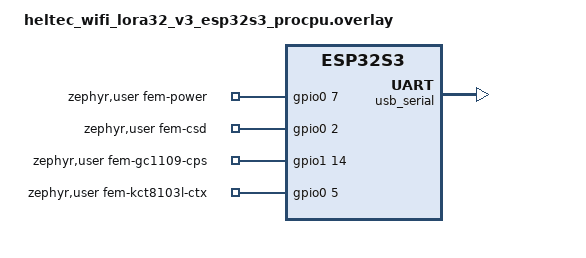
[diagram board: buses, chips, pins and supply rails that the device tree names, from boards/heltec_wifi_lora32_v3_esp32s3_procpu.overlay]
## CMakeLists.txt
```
# SPDX-License-Identifier: GPL-3.0-only

cmake_minimum_required(VERSION 3.20.0)

find_package(Zephyr REQUIRED HINTS $ENV{ZEPHYR_BASE})
project(lora_bench)

set(COMMON_DIR ${CMAKE_CURRENT_SOURCE_DIR}/../common)

target_include_directories(app PRIVATE ${COMMON_DIR}/lora)

target_sources(app PRIVATE
	src/main.c
	src/heltec_v4_fem.c
	src/oled.c
	src/font_5x8.c
	src/shell_cmds.c
	src/secure.c
	src/trace.c
)

# Either end of the real link, picked at run time by "bench role", plus
# the replay hook for testing.
set(LSEC_LINK sat ctrl)
set(LSEC_RADIO ON)
include(${COMMON_DIR}/link/link_sec.cmake)
target_compile_definitions(app PRIVATE LINK_TEST_HOOKS)
```

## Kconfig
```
# SPDX-License-Identifier: GPL-3.0-only

mainmenu "LoRa bench test"

rsource "../common/link/Kconfig"

source "Kconfig.zephyr"
```

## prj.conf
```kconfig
CONFIG_LOG=y
CONFIG_SHELL=y
CONFIG_GPIO=y
CONFIG_INPUT=y
CONFIG_HWINFO=y

CONFIG_SPI=y
CONFIG_LORA=y
# The driver logs every receive timeout at INF, which the listen loop
# would turn into four lines a second.
CONFIG_LORA_LOG_LEVEL_WRN=y

# Status on the OLED, in the app's own 5x8 font
CONFIG_I2C=y
CONFIG_DISPLAY=y
CONFIG_CHARACTER_FRAMEBUFFER=y
CONFIG_CHARACTER_FRAMEBUFFER_USE_DEFAULT_FONTS=n

# Secure-link mode (src/secure.c): the role and the pairing live in flash
CONFIG_FLASH=y
CONFIG_FLASH_MAP=y
CONFIG_ZMS=y
CONFIG_SETTINGS=y
CONFIG_SETTINGS_ZMS=y
CONFIG_REBOOT=y

# Link security, see documentation/radio_link.md
CONFIG_MAIN_STACK_SIZE=8192
CONFIG_PSA_CRYPTO=y
CONFIG_MBEDTLS_ENABLE_HEAP=y
CONFIG_MBEDTLS_HEAP_SIZE=8192
CONFIG_PSA_WANT_KEY_TYPE_AES=y
CONFIG_PSA_WANT_ALG_CCM=y
CONFIG_PSA_WANT_ALG_SHA_256=y
CONFIG_PSA_WANT_ALG_HMAC=y
CONFIG_PSA_WANT_ALG_HKDF=y
CONFIG_PSA_WANT_ALG_ECDH=y
CONFIG_PSA_WANT_ECC_SECP_R1_256=y
CONFIG_PSA_WANT_KEY_TYPE_ECC_KEY_PAIR_GENERATE=y
CONFIG_PSA_WANT_KEY_TYPE_ECC_PUBLIC_KEY=y
CONFIG_ENTROPY_GENERATOR=y

# Reply slots are timed to the millisecond; the ESP32 default of 100 ticks
# per second would round every wait to 10 ms.
CONFIG_SYS_CLOCK_TICKS_PER_SEC=10000

# The native SX126x driver, kept in standby between operations. It waits
# on BUSY without sleeping, so a reply goes out within a millisecond of
# its slot starting. loramac-node sleeps the chip after every call, which
# put some 40 ms of jitter-prone setup around each transmission.
CONFIG_LORA_MODULE_BACKEND_NATIVE=y
CONFIG_LORA_SX126X_NATIVE_SLEEP=n
```

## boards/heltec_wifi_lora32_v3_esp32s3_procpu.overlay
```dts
/*
 * Heltec WiFi LoRa 32 V4 on top of Zephyr's V3 board.
 *
 * Zephyr has no V4 board. The V4 keeps the V3's ESP32-S3, SX1262 wiring
 * (SPI, BUSY, DIO1, reset, DIO2 RF switch, 1.8 V TCXO on DIO3), LED and
 * PRG button, and changes two things that matter here:
 *
 *  - USB-C goes to the ESP32-S3's own USB Serial/JTAG instead of a
 *    CP2102, so the console moves off uart0.
 *  - A PA/LNA front-end sits between the SX1262 and the antenna. Its
 *    control pins are listed below and driven by src/heltec_v4_fem.c.
 *
 * The V4 has 16 MB of flash; the V3's 8 MB layout is used as it is.
 */

/ {
	chosen {
		zephyr,console = &usb_serial;
		zephyr,shell-uart = &usb_serial;
	};

	zephyr,user {
		fem-power-gpios = <&gpio0 7 GPIO_ACTIVE_HIGH>;			/* VFEM_Ctrl */
		fem-csd-gpios = <&gpio0 2 GPIO_ACTIVE_HIGH>;			/* PA_CSD */
		fem-gc1109-cps-gpios = <&gpio1 14 GPIO_ACTIVE_HIGH>;		/* IO46, V4.2 */
		fem-kct8103l-ctx-gpios = <&gpio0 5 GPIO_ACTIVE_HIGH>;		/* IO5, V4.3 */
	};
};

&usb_serial {
	status = "okay";
};
```

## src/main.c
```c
/* SPDX-License-Identifier: GPL-3.0-only */

/*
 * LoRa bench test for two Heltec WiFi LoRa 32 V4 boards.
 *
 * Both boards run this same image. By default a board just listens and
 * answers every PING with a PONG. Pressing the PRG button, or "bench ping"
 * on the shell, makes it send a run of PINGs and log, for each one, the
 * round-trip time and the RSSI/SNR in both directions.
 *
 * With a role set ("bench role ctrl|sat") the board runs secure.c instead:
 * pairing, sessions and sealed pings on the link security layer.
 */

#include <errno.h>
#include <zephyr/drivers/gpio.h>
#include <zephyr/drivers/hwinfo.h>
#include <zephyr/input/input.h>
#include <zephyr/kernel.h>
#include <zephyr/logging/log.h>
#include <zephyr/settings/settings.h>
#include <zephyr/sys/atomic.h>

#include "bench.h"
#include "heltec_v4_fem.h"
#include "oled.h"
#include "radio.h"
#include "secure.h"

LOG_MODULE_REGISTER(bench, LOG_LEVEL_INF);

/* Pings sent for one press of the PRG button. */
#define BUTTON_PING_COUNT    10
#define BUTTON_PING_INTERVAL 2000

/* How often a listening board checks whether a ping run was requested. */
#define LISTEN_WINDOW K_MSEC(250)

/* How often the display is redrawn when nothing happens, for the ages. */
#define DISPLAY_REFRESH_MS 1000

/* Time allowed for the other board to turn around and start its PONG. */
#define PONG_TURNAROUND_MS 100

static const struct gpio_dt_spec led = GPIO_DT_SPEC_GET(DT_ALIAS(led0), gpios);

static uint16_t node_id;
static enum bench_role role;

/* What the display shows. Only main() and the functions it calls touch it. */
static struct bench_status status;
static bool status_changed;

/* A ping run requested by the shell or the button, run by main(). */
static struct {
	uint32_t count;
	uint32_t interval_ms;
} ping_run;
static atomic_t ping_busy;
static atomic_t ping_stop;
static K_SEM_DEFINE(ping_requested, 0, 1);

uint16_t bench_node_id(void)
{
	return node_id;
}

int bench_ping_start(uint32_t count, uint32_t interval_ms)
{
	if (!atomic_cas(&ping_busy, 0, 1)) {
		return -EBUSY;
	}

	ping_run.count = count;
	ping_run.interval_ms = interval_ms;
	atomic_clear(&ping_stop);
	k_sem_give(&ping_requested);
	return 0;
}

void bench_ping_stop(void)
{
	atomic_set(&ping_stop, 1);
}

static void on_button(struct input_event *evt, void *user_data)
{
	if (evt->type != INPUT_EV_KEY || evt->code != INPUT_KEY_0) {
		return;
	}

	if (role != ROLE_OFF) {
		secure_button(evt->value);
		return;
	}

	if (evt->value) {
		if (bench_ping_start(BUTTON_PING_COUNT, BUTTON_PING_INTERVAL) == -EBUSY) {
			bench_ping_stop();
		}
	}
}
INPUT_CALLBACK_DEFINE(NULL, on_button, NULL);

/* Record a received packet for the display; true if it is a bench packet. */
static bool note_rx(const struct bench_pkt *pkt, int len,
		    const struct radio_rx_info *rx)
{
	bool valid = len == sizeof(*pkt) && pkt->magic == BENCH_MAGIC;

	status.rx_time = k_uptime_get();
	status.rx_type = valid ? pkt->type : 0;
	status.rx_seq = pkt->seq;
	status.rx_src = pkt->src;
	status.rx_rssi_dbm = rx->rssi_dbm;
	status.rx_snr_db = rx->snr_db;
	status_changed = true;

	return valid;
}

static int send_pkt(const struct bench_pkt *pkt)
{
	int ret;

	gpio_pin_set_dt(&led, 1);
	ret = radio_send(pkt, sizeof(*pkt));
	gpio_pin_set_dt(&led, 0);

	if (ret) {
		LOG_ERR("send: %d", ret);
	}
	return ret;
}

/* Listen for one window and answer a PING if one arrives. */
static void answer_pings(void)
{
	struct bench_pkt ping;
	struct radio_rx_info rx;
	int len;

	len = radio_recv(&ping, sizeof(ping), LISTEN_WINDOW, &rx);
	if (len == -EAGAIN) {
		return;
	}
	if (len < 0) {
		LOG_WRN("recv: %d", len);
		return;
	}
	if (!note_rx(&ping, len, &rx) || ping.type != BENCH_PING) {
		LOG_INF("ignored %d-byte packet, %d dBm", len, rx.rssi_dbm);
		return;
	}

	struct bench_pkt pong = {
		.magic = BENCH_MAGIC,
		.type = BENCH_PONG,
		.src = node_id,
		.dst = ping.src,
		.seq = ping.seq,
		.rssi_dbm = rx.rssi_dbm,
		.snr_db = rx.snr_db,
	};

	LOG_INF("ping %u from %04x: %d dBm, SNR %d dB", ping.seq, ping.src,
		rx.rssi_dbm, rx.snr_db);
	send_pkt(&pong);
}

/* Wait until @p deadline for the PONG to PING @p seq, skipping anything else. */
static bool await_pong(uint32_t seq, int64_t deadline, struct bench_pkt *pong,
		       struct radio_rx_info *rx)
{
	int64_t left;

	while ((left = deadline - k_uptime_get()) > 0) {
		int len = radio_recv(pong, sizeof(*pong), K_MSEC(left), rx);

		if (len >= 0 && note_rx(pong, len, rx) && pong->type == BENCH_PONG &&
		    pong->dst == node_id && pong->seq == seq) {
			return true;
		}
	}

	return false;
}

static void run_pings(uint32_t count, uint32_t interval_ms)
{
	uint32_t airtime = radio_airtime_ms(sizeof(struct bench_pkt));
	uint32_t pongs = 0;
	int64_t rtt_sum = 0;
	int16_t worst_rssi = INT16_MAX;

	LOG_INF("pinging %u times every %u ms, %u ms airtime per packet",
		count, interval_ms, airtime);

	status.pinging = true;
	status.ping_total = count;
	status.ping_sent = 0;
	status.pongs = 0;

	for (uint32_t seq = 1; seq <= count && !atomic_get(&ping_stop); seq++) {
		struct bench_pkt ping = {
			.magic = BENCH_MAGIC,
			.type = BENCH_PING,
			.src = node_id,
			.seq = seq,
		};
		struct bench_pkt pong;
		struct radio_rx_info rx;
		int64_t start = k_uptime_get();

		status.ping_sent = seq;

		if (send_pkt(&ping) == 0 &&
		    await_pong(seq, k_uptime_get() + airtime + PONG_TURNAROUND_MS,
			       &pong, &rx)) {
			int64_t rtt = k_uptime_get() - start;

			LOG_INF("ping %u: pong from %04x in %lld ms, "
				"there %d dBm/%d dB, back %d dBm/%d dB",
				seq, pong.src, rtt, pong.rssi_dbm, pong.snr_db,
				rx.rssi_dbm, rx.snr_db);

			pongs++;
			rtt_sum += rtt;
			worst_rssi = MIN(worst_rssi, MIN(pong.rssi_dbm, rx.rssi_dbm));

			status.pongs = pongs;
			status.there_rssi_dbm = pong.rssi_dbm;
			status.there_snr_db = pong.snr_db;
			status.back_rssi_dbm = rx.rssi_dbm;
			status.back_snr_db = rx.snr_db;
			status.rtt_ms = rtt;
		} else {
			LOG_WRN("ping %u: no pong", seq);
		}

		oled_show(&status);

		k_sleep(K_TIMEOUT_ABS_MS(start + interval_ms));
	}

	status.pinging = false;
	status_changed = true;

	if (pongs > 0) {
		LOG_INF("%u of %u answered, mean RTT %lld ms, worst RSSI %d dBm",
			pongs, count, rtt_sum / pongs, worst_rssi);
	} else {
		LOG_INF("0 of %u answered", count);
	}
}

static int read_node_id(void)
{
	uint8_t id[8];
	ssize_t len = hwinfo_get_device_id(id, sizeof(id));

	if (len < 2) {
		return len < 0 ? len : -EIO;
	}

	node_id = (id[len - 2] << 8) | id[len - 1];
	return 0;
}

/* Redraw on changes, and every DISPLAY_REFRESH_MS for the ages. */
static void refresh_display(void)
{
	static int64_t last;
	int64_t now = k_uptime_get();

	if (status_changed || now - last >= DISPLAY_REFRESH_MS) {
		oled_show(&status);
		status_changed = false;
		last = now;
	}
}

/* Log a bring-up failure and leave it on the display. */
static int fail(const char *what, int err)
{
	LOG_ERR("%s: %d", what, err);
	status.error = what;
	status.error_code = err;
	oled_show(&status);
	return err;
}

int main(void)
{
	const struct radio_frontend *fe;
	int ret;

	/* Optional: the bench works without it, only less visibly. */
	(void)oled_init();

	ret = read_node_id();
	if (ret) {
		return fail("device id", ret);
	}
	status.node_id = node_id;

	ret = gpio_pin_configure_dt(&led, GPIO_OUTPUT_INACTIVE);
	if (ret) {
		return fail("LED", ret);
	}

	fe = heltec_v4_fem_init();
	if (fe == NULL) {
		return fail("RF front-end", -EIO);
	}
	status.frontend = fe->name;

	ret = radio_init(fe);
	if (ret) {
		return fail("radio init", ret);
	}

	ret = settings_subsys_init();
	if (ret) {
		return fail("settings", ret);
	}

	role = secure_role_load();
	if (role != ROLE_OFF) {
		secure_main(role);
	}

	LOG_INF("node %04x listening; press PRG or run \"bench ping\"", node_id);

	while (true) {
		if (k_sem_take(&ping_requested, K_NO_WAIT) == 0) {
			run_pings(ping_run.count, ping_run.interval_ms);
			atomic_clear(&ping_busy);
		}
		answer_pings();
		refresh_display();
	}

	return 0;
}
```

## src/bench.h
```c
/* SPDX-License-Identifier: GPL-3.0-only */

#ifndef BENCH_H_
#define BENCH_H_

#include <stdint.h>

/*
 * Test packet. Every board answers a PING with a PONG that reports how
 * well it heard the PING, so the pinging board sees both directions of
 * the link. Fields are little-endian, as are both MCUs in the project.
 */
#define BENCH_MAGIC 0xB5

enum bench_pkt_type {
	BENCH_PING = 1,
	BENCH_PONG = 2,
	BENCH_POLL = 3,   /* secure mode: the payload of a link poll */
};

struct bench_pkt {
	uint8_t magic;
	uint8_t type;
	uint16_t src;      /* sender's node id */
	/* PONG: the pinging node. PING: 0, anyone answers. POLL: pad the PONG to this length. */
	uint16_t dst;
	uint32_t seq;
	int16_t rssi_dbm;  /* PONG: how the PING was heard */
	int8_t snr_db;
} __packed;

/* Node id: the low 16 bits of the chip's factory MAC/serial. */
uint16_t bench_node_id(void);

/*
 * Ask the radio loop to send @p count pings, one per @p interval_ms.
 * Returns -EBUSY if a ping run is already queued or in progress.
 */
int bench_ping_start(uint32_t count, uint32_t interval_ms);
void bench_ping_stop(void);

#endif /* BENCH_H_ */
```

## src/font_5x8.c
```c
/* SPDX-License-Identifier: GPL-3.0-only */

/* Generated by tools/bdf_to_cfb.py from 5x8.bdf. Do not edit. */

#include <zephyr/display/cfb.h>

static const uint8_t font5x8_glyphs[95][5] = {
	{ 0x00, 0x00, 0x00, 0x00, 0x00 }, /* space */
	{ 0x00, 0x00, 0x5e, 0x00, 0x00 }, /* ! */
	{ 0x00, 0x0e, 0x00, 0x0e, 0x00 }, /* " */
	{ 0x14, 0x7f, 0x14, 0x7f, 0x14 }, /* # */
	{ 0x04, 0x2a, 0x7f, 0x2a, 0x10 }, /* $ */
	{ 0x00, 0x16, 0x08, 0x34, 0x00 }, /* % */
	{ 0x36, 0x49, 0x36, 0x40, 0x00 }, /* & */
	{ 0x00, 0x00, 0x0e, 0x00, 0x00 }, /* ' */
	{ 0x00, 0x3c, 0x42, 0x00, 0x00 }, /* ( */
	{ 0x00, 0x42, 0x3c, 0x00, 0x00 }, /* ) */
	{ 0x54, 0x38, 0x38, 0x54, 0x00 }, /* * */
	{ 0x10, 0x10, 0x7c, 0x10, 0x10 }, /* + */
	{ 0x00, 0x80, 0x60, 0x20, 0x00 }, /* , */
	{ 0x10, 0x10, 0x10, 0x10, 0x00 }, /* - */
	{ 0x00, 0x40, 0xe0, 0x40, 0x00 }, /* . */
	{ 0x60, 0x10, 0x08, 0x06, 0x00 }, /* / */
	{ 0x00, 0x3c, 0x42, 0x3c, 0x00 }, /* 0 */
	{ 0x00, 0x44, 0x7e, 0x40, 0x00 }, /* 1 */
	{ 0x64, 0x52, 0x52, 0x4c, 0x00 }, /* 2 */
	{ 0x22, 0x4a, 0x4e, 0x32, 0x00 }, /* 3 */
	{ 0x18, 0x14, 0x7e, 0x10, 0x00 }, /* 4 */
	{ 0x2e, 0x4a, 0x4a, 0x32, 0x00 }, /* 5 */
	{ 0x3c, 0x4a, 0x4a, 0x30, 0x00 }, /* 6 */
	{ 0x02, 0x62, 0x1a, 0x06, 0x00 }, /* 7 */
	{ 0x34, 0x4a, 0x4a, 0x34, 0x00 }, /* 8 */
	{ 0x0c, 0x52, 0x52, 0x3c, 0x00 }, /* 9 */
	{ 0x00, 0x6c, 0x6c, 0x00, 0x00 }, /* : */
	{ 0x00, 0x80, 0x6c, 0x2c, 0x00 }, /* ; */
	{ 0x00, 0x18, 0x24, 0x42, 0x00 }, /* < */
	{ 0x28, 0x28, 0x28, 0x28, 0x00 }, /* = */
	{ 0x00, 0x42, 0x24, 0x18, 0x00 }, /* > */
	{ 0x00, 0x04, 0x52, 0x0c, 0x00 }, /* ? */
	{ 0x3c, 0x42, 0x99, 0xa5, 0x1e }, /* @ */
	{ 0x7c, 0x12, 0x12, 0x7c, 0x00 }, /* A */
	{ 0x7e, 0x4a, 0x4a, 0x34, 0x00 }, /* B */
	{ 0x3c, 0x42, 0x42, 0x24, 0x00 }, /* C */
	{ 0x7e, 0x42, 0x42, 0x3c, 0x00 }, /* D */
	{ 0x7e, 0x4a, 0x4a, 0x42, 0x00 }, /* E */
	{ 0x7e, 0x0a, 0x0a, 0x02, 0x00 }, /* F */
	{ 0x3c, 0x42, 0x52, 0x34, 0x00 }, /* G */
	{ 0x7e, 0x08, 0x08, 0x7e, 0x00 }, /* H */
	{ 0x00, 0x42, 0x7e, 0x42, 0x00 }, /* I */
	{ 0x20, 0x42, 0x3e, 0x02, 0x00 }, /* J */
	{ 0x7e, 0x08, 0x34, 0x42, 0x00 }, /* K */
	{ 0x7e, 0x40, 0x40, 0x40, 0x00 }, /* L */
	{ 0x7e, 0x0c, 0x0c, 0x7e, 0x00 }, /* M */
	{ 0x7e, 0x0c, 0x38, 0x7e, 0x00 }, /* N */
	{ 0x3c, 0x42, 0x42, 0x3c, 0x00 }, /* O */
	{ 0x7e, 0x12, 0x12, 0x0c, 0x00 }, /* P */
	{ 0x3c, 0x52, 0x62, 0xbc, 0x00 }, /* Q */
	{ 0x7e, 0x12, 0x12, 0x6c, 0x00 }, /* R */
	{ 0x24, 0x4a, 0x52, 0x24, 0x00 }, /* S */
	{ 0x00, 0x02, 0x7e, 0x02, 0x00 }, /* T */
	{ 0x3e, 0x40, 0x40, 0x3e, 0x00 }, /* U */
	{ 0x1e, 0x60, 0x60, 0x1e, 0x00 }, /* V */
	{ 0x7e, 0x30, 0x30, 0x7e, 0x00 }, /* W */
	{ 0x66, 0x18, 0x18, 0x66, 0x00 }, /* X */
	{ 0x06, 0x08, 0x70, 0x08, 0x06 }, /* Y */
	{ 0x62, 0x52, 0x4a, 0x46, 0x00 }, /* Z */
	{ 0x00, 0x7e, 0x42, 0x42, 0x00 }, /* [ */
	{ 0x06, 0x08, 0x10, 0x60, 0x00 }, /* backslash */
	{ 0x00, 0x42, 0x42, 0x7e, 0x00 }, /* ] */
	{ 0x00, 0x04, 0x02, 0x04, 0x00 }, /* ^ */
	{ 0x80, 0x80, 0x80, 0x80, 0x00 }, /* _ */
	{ 0x00, 0x02, 0x04, 0x00, 0x00 }, /* ` */
	{ 0x30, 0x48, 0x48, 0x78, 0x00 }, /* a */
	{ 0x7e, 0x48, 0x48, 0x30, 0x00 }, /* b */
	{ 0x00, 0x30, 0x48, 0x48, 0x00 }, /* c */
	{ 0x30, 0x48, 0x48, 0x7e, 0x00 }, /* d */
	{ 0x30, 0x68, 0x58, 0x10, 0x00 }, /* e */
	{ 0x10, 0x7c, 0x12, 0x04, 0x00 }, /* f */
	{ 0x10, 0xa8, 0xa8, 0x70, 0x00 }, /* g */
	{ 0x7e, 0x08, 0x08, 0x70, 0x00 }, /* h */
	{ 0x00, 0x48, 0x7a, 0x40, 0x00 }, /* i */
	{ 0x00, 0x40, 0x80, 0x7a, 0x00 }, /* j */
	{ 0x7e, 0x10, 0x10, 0x68, 0x00 }, /* k */
	{ 0x00, 0x42, 0x7e, 0x40, 0x00 }, /* l */
	{ 0x78, 0x08, 0x70, 0x08, 0x70 }, /* m */
	{ 0x78, 0x08, 0x08, 0x70, 0x00 }, /* n */
	{ 0x30, 0x48, 0x48, 0x30, 0x00 }, /* o */
	{ 0xf8, 0x28, 0x28, 0x10, 0x00 }, /* p */
	{ 0x10, 0x28, 0x28, 0xf8, 0x00 }, /* q */
	{ 0x78, 0x10, 0x08, 0x10, 0x00 }, /* r */
	{ 0x00, 0x50, 0x58, 0x28, 0x00 }, /* s */
	{ 0x08, 0x3e, 0x48, 0x20, 0x00 }, /* t */
	{ 0x38, 0x40, 0x40, 0x78, 0x00 }, /* u */
	{ 0x00, 0x38, 0x40, 0x38, 0x00 }, /* v */
	{ 0x38, 0x40, 0x30, 0x40, 0x38 }, /* w */
	{ 0x48, 0x30, 0x30, 0x48, 0x00 }, /* x */
	{ 0x58, 0xa0, 0xa0, 0x78, 0x00 }, /* y */
	{ 0x48, 0x68, 0x58, 0x48, 0x00 }, /* z */
	{ 0x08, 0x2a, 0x55, 0x41, 0x00 }, /* { */
	{ 0x00, 0x00, 0x7e, 0x00, 0x00 }, /* | */
	{ 0x41, 0x55, 0x2a, 0x08, 0x00 }, /* } */
	{ 0x04, 0x02, 0x04, 0x02, 0x00 }, /* ~ */
};

FONT_ENTRY_DEFINE(font5x8, 5, 8, CFB_FONT_MONO_VPACKED,
		  font5x8_glyphs, 0x20, 0x7e);
```

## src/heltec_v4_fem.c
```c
/* SPDX-License-Identifier: GPL-3.0-only */

/*
 * RF front-end of the Heltec WiFi LoRa 32 V4.
 *
 * The V4 puts a PA/LNA between the SX1262 and the antenna, and the part
 * changed between board revisions:
 *
 *   V4.2  GC1109    CTX = SX1262 DIO2, CPS = GPIO46 (high: PA, low: bypass)
 *   V4.3  KCT8103L  CPS = SX1262 DIO2, CTX = GPIO5  (high: TX, low: RX LNA)
 *
 * On both, GPIO7 enables the front-end's LDO and GPIO2 drives its CSD
 * (chip enable). DIO2 is switched by the SX1262 itself; the one pin left
 * to software must be high while transmitting and low otherwise. Only
 * which pin that is differs between revisions.
 *
 * The revisions are told apart by what they put on CSD: V4.3 pulls it up,
 * V4.2 pulls it down. This is the detection Meshtastic uses.
 *
 * Pin assignments are from Heltec's schematics WiFi_LoRa_32_V4.2.pdf and
 * HTIT-WB32LAF_V4.3.pdf.
 */

#include <zephyr/drivers/gpio.h>
#include <zephyr/kernel.h>
#include <zephyr/logging/log.h>

#include "heltec_v4_fem.h"

LOG_MODULE_REGISTER(fem, LOG_LEVEL_INF);

#define USER_NODE DT_PATH(zephyr_user)

static const struct gpio_dt_spec power = GPIO_DT_SPEC_GET(USER_NODE, fem_power_gpios);
static const struct gpio_dt_spec csd = GPIO_DT_SPEC_GET(USER_NODE, fem_csd_gpios);
static const struct gpio_dt_spec gc1109_cps = GPIO_DT_SPEC_GET(USER_NODE, fem_gc1109_cps_gpios);
static const struct gpio_dt_spec kct8103l_ctx =
	GPIO_DT_SPEC_GET(USER_NODE, fem_kct8103l_ctx_gpios);

/* The pin that selects the transmit path on the fitted revision. */
static const struct gpio_dt_spec *tx_pin;

static int set_tx(bool tx)
{
	return gpio_pin_set_dt(tx_pin, tx);
}

/*
 * Small-signal gain from SX1262 output to antenna, attenuator pad
 * included, as measured by Meshtastic. Both PAs compress above about
 * 15 dBm of input, so these hold only for moderate output powers.
 */
static const struct radio_frontend gc1109 = {
	.name = "GC1109 (V4.2)",
	.tx_gain_db = 11,
	.set_tx = set_tx,
};

static const struct radio_frontend kct8103l = {
	.name = "KCT8103L (V4.3)",
	.tx_gain_db = 13,
	.set_tx = set_tx,
};

const struct radio_frontend *heltec_v4_fem_init(void)
{
	const struct radio_frontend *fe;
	int ret;

	ret = gpio_pin_configure_dt(&power, GPIO_OUTPUT_ACTIVE);
	if (ret) {
		LOG_ERR("front-end power: %d", ret);
		return NULL;
	}
	k_msleep(1);

	/* Read the revision strap before driving CSD. */
	ret = gpio_pin_configure_dt(&csd, GPIO_INPUT);
	if (ret) {
		return NULL;
	}
	k_msleep(1);

	if (gpio_pin_get_dt(&csd) == 1) {
		fe = &kct8103l;
		tx_pin = &kct8103l_ctx;
	} else {
		fe = &gc1109;
		tx_pin = &gc1109_cps;
	}

	ret = gpio_pin_configure_dt(tx_pin, GPIO_OUTPUT_INACTIVE);
	if (ret == 0) {
		ret = gpio_pin_configure_dt(&csd, GPIO_OUTPUT_ACTIVE);
	}
	if (ret) {
		LOG_ERR("front-end control pins: %d", ret);
		return NULL;
	}

	LOG_INF("RF front-end %s", fe->name);
	return fe;
}
```

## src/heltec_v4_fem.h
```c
/* SPDX-License-Identifier: GPL-3.0-only */

#ifndef HELTEC_V4_FEM_H_
#define HELTEC_V4_FEM_H_

#include "radio.h"

/*
 * Power up the Heltec V4's RF front-end, find out which of the two
 * revisions is fitted, and return the matching radio_frontend. Returns
 * NULL if the front-end GPIOs could not be configured.
 */
const struct radio_frontend *heltec_v4_fem_init(void);

#endif /* HELTEC_V4_FEM_H_ */
```

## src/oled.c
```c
/* SPDX-License-Identifier: GPL-3.0-only */

/*
 * Bench status on the Heltec's 128x64 OLED, as 8 lines of 25 characters
 * in the 5x8 font from font_5x8.c:
 *
 *   079c  KCT8103L (V4.3)
 *   869.850 SF7 +7dBm
 *   RX ping #12 from 3a41
 *     -45dBm 9dB  3s ago
 *   PING 7/10  ok 6
 *     there -41dBm  9dB
 *     back  -43dBm 10dB
 *     rtt 342ms
 */

#include <errno.h>
#include <stdarg.h>
#include <zephyr/device.h>
#include <zephyr/display/cfb.h>
#include <zephyr/drivers/display.h>
#include <zephyr/kernel.h>
#include <zephyr/logging/log.h>
#include <zephyr/sys/printk.h>

#include "bench.h"
#include "oled.h"
#include "radio.h"
#include "secure.h"

LOG_MODULE_REGISTER(oled, LOG_LEVEL_INF);

#define LINE_HEIGHT 8
#define LINE_CHARS  25

static const struct device *const display = DEVICE_DT_GET(DT_CHOSEN(zephyr_display));
static bool ready;

int oled_init(void)
{
	int ret;

	if (!device_is_ready(display)) {
		LOG_WRN("no display");
		return -ENODEV;
	}

	ret = cfb_framebuffer_init(display);
	if (ret == 0) {
		/* The 5x8 font is the only one built in. */
		ret = cfb_framebuffer_set_font(display, 0);
	}
	if (ret == 0) {
		ret = display_blanking_off(display);
	}
	if (ret) {
		LOG_ERR("display init: %d", ret);
		return ret;
	}

	ready = true;
	return 0;
}

static void line(int row, const char *fmt, ...)
{
	char text[LINE_CHARS + 1];
	va_list ap;

	va_start(ap, fmt);
	vsnprintk(text, sizeof(text), fmt, ap);
	va_end(ap);

	cfb_print(display, text, 0, row * LINE_HEIGHT);
}

static const char *pkt_name(uint8_t type)
{
	switch (type) {
	case BENCH_PING:
		return "ping";
	case BENCH_PONG:
		return "pong";
	default:
		return "?";
	}
}

static void show_rx(const struct bench_status *st)
{
	if (st->rx_time == 0) {
		line(2, "RX nothing yet");
		return;
	}

	if (st->rx_type == 0) {
		line(2, "RX unknown packet");
	} else {
		line(2, "RX %s #%u from %04x", pkt_name(st->rx_type), st->rx_seq,
		     st->rx_src);
	}

	line(3, "  %ddBm %ddB  %ds ago", st->rx_rssi_dbm, st->rx_snr_db,
	     (int)((k_uptime_get() - st->rx_time) / 1000));
}

static void show_pings(const struct bench_status *st)
{
	if (st->ping_total == 0) {
		line(4, "PRG button: ping run");
		return;
	}

	line(4, "%s %u/%u  ok %u", st->pinging ? "PING" : "DONE", st->ping_sent,
	     st->ping_total, st->pongs);

	if (st->pongs > 0) {
		line(5, "  there %ddBm %ddB", st->there_rssi_dbm, st->there_snr_db);
		line(6, "  back  %ddBm %ddB", st->back_rssi_dbm, st->back_snr_db);
		line(7, "  rtt %ums", st->rtt_ms);
	}
}

void oled_show(const struct bench_status *st)
{
	uint32_t f = radio_frequency();

	if (!ready) {
		return;
	}

	cfb_framebuffer_clear(display, false);

	line(0, "%04x  %s", st->node_id, st->frontend ? st->frontend : "");

	if (st->error) {
		line(2, "ERROR");
		line(3, "%s", st->error);
		line(4, "code %d", st->error_code);
	} else {
		line(1, "%u.%03u SF%u %+ddBm", f / 1000000, (f / 1000) % 1000,
		     radio_spreading_factor(), radio_tx_power());
		show_rx(st);
		show_pings(st);
	}

	cfb_framebuffer_finalize(display);
}

/*
 * Secure mode, normally:
 *
 *   079c CTRL SF7 +7dBm
 *   link: joined
 *   sat 00c0ffee12345678
 *   > joined
 *   ok 12 tag 0 replay 1
 *   net 0 nosess 0
 *   PING 7/10 ok 6 grp 3
 *     rtt 342ms
 *
 * and while a pairing waits for the user, the pattern to compare: four
 * numbered rows of six boxes, filled where the satellite's LED is lit.
 */
#define SAS_TOP   12
#define SAS_PITCH 13
#define BOX_W     12
#define BOX_H     10
#define BOX_PITCH 18
#define BOX_LEFT  14

static void show_sas(const struct secure_status *st)
{
	line(0, "COMPARE PRG=ok hold=no");

	for (int r = 0; r < LSEC_SAS_FRAMES; r++) {
		int y = SAS_TOP + r * SAS_PITCH;
		char label[2] = {'1' + r, '\0'};

		cfb_draw_text(display, label, 0, y + 1);

		for (int led = 0; led < LSEC_SAS_LEDS; led++) {
			int x = BOX_LEFT + led * BOX_PITCH;
			struct cfb_position a = {x, y};
			struct cfb_position b = {x + BOX_W - 1, y + BOX_H - 1};

			cfb_draw_rect(display, &a, &b);
			if (st->sas[r] & BIT(led)) {
				cfb_invert_area(display, x + 1, y + 1, BOX_W - 2, BOX_H - 2);
			}
		}
	}
}

static const char *link_state(const struct secure_status *st)
{
	if (st->scanning) {
		return "looking for sats";
	}
	if (st->pairing) {
		return st->role == ROLE_SAT ? "pairing mode" : "pairing";
	}
	if (!st->paired) {
		return "not paired";
	}
	return st->joined ? "joined" : "paired, joining";
}

void oled_show_secure(uint16_t node_id, const struct secure_status *st)
{
	if (!ready) {
		return;
	}

	cfb_framebuffer_clear(display, false);

	if (st->sas_shown) {
		show_sas(st);
		cfb_framebuffer_finalize(display);
		return;
	}

	line(0, "%04x %s SF%u %+ddBm", node_id, st->role == ROLE_CTRL ? "CTRL" : "SAT",
	     radio_spreading_factor(), radio_tx_power());
	line(1, "link: %s", link_state(st));
	if (st->uid != 0) {
		line(2, "%s %016llx", st->role == ROLE_CTRL ? "sat" : "me", st->uid);
	}
	if (st->note) {
		line(3, "> %s", st->note);
	}
	line(4, "ok %u tag %u replay %u", st->stats.rx_ok, st->stats.bad_tag,
	     st->stats.replay);
	line(5, "net %u nosess %u", st->stats.foreign, st->stats.no_session);

	if (st->ping_total > 0) {
		line(6, "%s %u/%u ok %u grp %u", st->pinging ? "PING" : "DONE", st->ping_sent,
		     st->ping_total, st->pongs, st->group_pongs);
		if (st->pongs > 0) {
			line(7, "  rtt %ums", st->rtt_ms);
		}
	}

	cfb_framebuffer_finalize(display);
}
```

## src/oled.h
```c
/* SPDX-License-Identifier: GPL-3.0-only */

#ifndef OLED_H_
#define OLED_H_

#include <stdbool.h>
#include <stdint.h>

/* What the bench shows on the board's 128x64 OLED. Owned by main(). */
struct bench_status {
	uint16_t node_id;
	const char *frontend;   /* NULL until the front-end is detected */

	/* Last packet heard, of any kind. rx_time is 0 until the first. */
	int64_t rx_time;
	uint8_t rx_type;        /* enum bench_pkt_type, 0 if unrecognized */
	uint32_t rx_seq;
	uint16_t rx_src;
	int16_t rx_rssi_dbm;
	int8_t rx_snr_db;

	/* Current or most recent ping run. ping_total is 0 before the first. */
	bool pinging;
	uint32_t ping_sent;
	uint32_t ping_total;
	uint32_t pongs;

	/* Most recent answered ping. */
	int16_t there_rssi_dbm;
	int8_t there_snr_db;
	int16_t back_rssi_dbm;
	int8_t back_snr_db;
	uint32_t rtt_ms;

	/* Set when bring-up fails; replaces the radio lines. */
	const char *error;
	int error_code;
};

struct secure_status;

/* Returns -ENODEV if there is no display; the bench runs without one. */
int oled_init(void);
void oled_show(const struct bench_status *st);
void oled_show_secure(uint16_t node_id, const struct secure_status *st);

#endif /* OLED_H_ */
```

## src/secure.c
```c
/* SPDX-License-Identifier: GPL-3.0-only */

/*
 * Secure-link mode. One board takes the controller role, the other the
 * satellite role. Each runs the same link code as the real device
 * (../common/link/ctrl_link.c or sat_link.c); this file only adds the
 * bench's OLED, PRG button and a ping test on top:
 *
 *   - Satellite: hold PRG (or "bench pair") to enter pairing mode.
 *   - Controller: hold PRG to pair with the first satellite it hears in
 *     pairing mode, or "bench scan" and "bench pair <uid>".
 *   - Both OLEDs then show the same 4x6 pattern. Press PRG on each to
 *     confirm, hold it to reject.
 *   - Once joined, the controller polls the satellite twice a second, as
 *     the real controller does, which keeps the session up. PRG on the
 *     controller (or "bench ping") runs sealed pings, alternating unicast
 *     and group frames; "bench poll" measures where the satellite's
 *     replies land in their slots.
 *
 * Link events arrive on the link thread. The shell and the button queue
 * requests for secure_main()'s thread, which also drives the display.
 */

#include <errno.h>
#include <string.h>
#include <zephyr/drivers/gpio.h>
#include <zephyr/kernel.h>
#include <zephyr/logging/log.h>
#include <zephyr/settings/settings.h>

#include "bench.h"
#include "ctrl_link.h"
#include "link_sched.h"
#include "lsec_store.h"
#include "oled.h"
#include "radio.h"
#include "sat_link.h"
#include "secure.h"
#include "trace.h"

LOG_MODULE_REGISTER(secure, LOG_LEVEL_INF);

/*
 * The bench has one satellite. It is paired into the last slot, so that
 * "bench poll" can put phantom satellites ahead of it and test any rank.
 */
#define BENCH_PAIR_SLOT LSEC_MAX_SATS

#define LOOP_PERIOD        K_MSEC(50)
#define DISPLAY_REFRESH_MS 1000
#define LONG_PRESS_MS      1000
/* Controller: poll the satellite this often when nothing else is running. */
#define HEARTBEAT_MS       500
#define JAM_LEN            255

static enum bench_role role;
/* Written by both threads; st_lock keeps each update whole. */
static struct secure_status st;
static K_MUTEX_DEFINE(st_lock);
static atomic_t st_changed;

static struct {
	uint32_t count;
	uint32_t interval_ms;
	atomic_t seq;
	int64_t next_at;
	int64_t sent_at;
} ping;

/* A "bench poll" run, and where its replies landed. */
static struct {
	uint32_t count;
	uint32_t interval_ms;
	uint8_t mask;
	uint8_t reply_len;
	uint8_t rank;
	uint8_t slot_ms;
	atomic_t seq;
	int64_t next_at;
	uint32_t answered;
	uint32_t late;           /* ended after their slot */
	int64_t min_us, max_us, sum_us;
} poll;

static int64_t next_heartbeat;

/* The paired satellite's slot, found by looking; 0 when there is none. */
static atomic_t sat_slot;

struct secure_req {
	enum secure_req_type type;
	uint64_t uid;
	uint32_t arg;
	uint32_t arg2;
};

K_MSGQ_DEFINE(requests, sizeof(struct secure_req), 8, 4);

/* Controller: pair with the first satellite heard (long press). */
static atomic_t auto_pair;

/* ---- role in settings ------------------------------------------------- */

static int role_set(const char *key, size_t len, settings_read_cb read_cb, void *cb_arg,
		    void *param)
{
	uint8_t v;

	if (settings_name_steq(key, "role", NULL) && len == 1 &&
	    read_cb(cb_arg, &v, 1) == 1 && v <= ROLE_SAT) {
		*(enum bench_role *)param = v;
	}

	return 0;
}

enum bench_role secure_role_load(void)
{
	enum bench_role r = ROLE_OFF;

	settings_load_subtree_direct("bench", role_set, &r);
	return r;
}

int secure_role_save(enum bench_role r)
{
	uint8_t v = r;
	int ret;

	/* Pairings belong to the role that made them. */
	ret = lsec_store_clear();
	if (ret) {
		return ret;
	}

	return settings_save_one("bench/role", &v, 1);
}

/* ---- requests --------------------------------------------------------- */

int secure_request(enum secure_req_type type, uint64_t uid, uint32_t arg, uint32_t arg2)
{
	struct secure_req req = {.type = type, .uid = uid, .arg = arg, .arg2 = arg2};

	if (role == ROLE_OFF) {
		return -ENOTSUP;
	}

	return k_msgq_put(&requests, &req, K_NO_WAIT) ? -EBUSY : 0;
}

const struct secure_status *secure_status(void)
{
	return &st;
}

void secure_button(bool pressed)
{
	static int64_t down_at;
	bool long_press;

	if (pressed) {
		down_at = k_uptime_get();
		return;
	}

	long_press = k_uptime_get() - down_at >= LONG_PRESS_MS;

	if (st.sas_shown) {
		secure_request(long_press ? REQ_REJECT : REQ_CONFIRM, 0, 0, 0);
	} else if (long_press) {
		secure_request(REQ_PAIR, 0, 0, 0);
	} else if (role == ROLE_CTRL) {
		secure_request(st.pinging ? REQ_STOP : REQ_PING, 0, 10, 2000);
	}
}

static void note(const char *text)
{
	k_mutex_lock(&st_lock, K_FOREVER);
	st.note = text;
	k_mutex_unlock(&st_lock);
	atomic_set(&st_changed, 1);
}

/* ---- link events (link thread) ---------------------------------------- */

static const char *fail_name(enum lsec_fail reason)
{
	switch (reason) {
	case LSEC_FAIL_TIMEOUT:
		return "timeout";
	case LSEC_FAIL_REJECTED:
		return "rejected here";
	case LSEC_FAIL_PEER_ABORT:
		return "peer aborted";
	case LSEC_FAIL_COMMITMENT:
		return "bad commitment";
	case LSEC_FAIL_CHECK:
		return "key check failed";
	case LSEC_FAIL_STORE:
		return "store failed";
	default:
		return "crypto error";
	}
}

static void log_sas(const uint8_t sas[LSEC_SAS_FRAMES])
{
	char rows[LSEC_SAS_FRAMES][LSEC_SAS_LEDS + 1];

	for (int r = 0; r < LSEC_SAS_FRAMES; r++) {
		for (int led = 0; led < LSEC_SAS_LEDS; led++) {
			rows[r][led] = (sas[r] & BIT(led)) ? '#' : '.';
		}
		rows[r][LSEC_SAS_LEDS] = '\0';
	}

	LOG_INF("compare: %s %s %s %s  (PRG = match, hold PRG = no match)", rows[0], rows[1],
		rows[2], rows[3]);
}

static void on_data(const struct lsec_event *ev)
{
	struct bench_pkt pkt;

	/* A pong may be padded to test longer replies. */
	if (ev->len < sizeof(pkt)) {
		LOG_INF("%zu-byte payload from slot %u", ev->len, ev->slot);
		return;
	}

	memcpy(&pkt, ev->data, sizeof(pkt));
	if (pkt.magic != BENCH_MAGIC) {
		return;
	}

	if (role == ROLE_SAT && pkt.type == BENCH_PING) {
		struct sat_link_state ls;

		sat_link_state(&ls);

		struct bench_pkt pong = {
			.magic = BENCH_MAGIC,
			.type = BENCH_PONG,
			.src = bench_node_id(),
			.dst = pkt.src,
			.seq = pkt.seq,
			.rssi_dbm = ls.rssi_dbm,
			.snr_db = ls.snr_db,
		};

		LOG_INF("sealed ping %u (%s): %d dBm", pkt.seq, ev->group ? "group" : "unicast",
			ls.rssi_dbm);
		sat_link_send(&pong, sizeof(pong));
		return;
	}

	if (role == ROLE_CTRL && pkt.type == BENCH_PONG && st.pinging && poll.count &&
	    pkt.seq == atomic_get(&poll.seq)) {
		struct ctrl_link_state ls;
		int64_t off;
		int64_t slot_end;

		/* The reception time of this very frame, against the poll's end. */
		ctrl_link_state(&ls);
		off = ls.last_rx_us - ls.last_poll_end_us;
		slot_end = link_slot_start_us(0, poll.rank + 1, poll.slot_ms);

		poll.answered++;
		poll.min_us = MIN(poll.min_us, off);
		poll.max_us = MAX(poll.max_us, off);
		poll.sum_us += off;
		if (off > slot_end) {
			poll.late++;
		}

		k_mutex_lock(&st_lock, K_FOREVER);
		st.pongs++;
		st.rtt_ms = off / 1000;
		k_mutex_unlock(&st_lock);

		LOG_INF("poll %u: reply at +%lld.%01lld ms, slot %lld-%lld ms, there %d dBm",
			pkt.seq, off / 1000, (off % 1000) / 100,
			link_slot_start_us(0, poll.rank, poll.slot_ms) / 1000, slot_end / 1000,
			pkt.rssi_dbm);
		return;
	}

	/* Seq 0 answers a heartbeat poll. */
	if (role == ROLE_CTRL && pkt.type == BENCH_PONG && pkt.seq != 0 &&
	    pkt.seq == atomic_get(&ping.seq)) {
		struct ctrl_link_state ls;
		uint32_t rtt = k_uptime_get() - ping.sent_at;
		bool group = pkt.seq % 2 == 0;

		ctrl_link_state(&ls);

		k_mutex_lock(&st_lock, K_FOREVER);
		st.rtt_ms = rtt;
		st.pongs++;
		st.group_pongs += group;
		k_mutex_unlock(&st_lock);

		LOG_INF("sealed ping %u (%s): pong in %u ms, there %d dBm, back %d dBm", pkt.seq,
			group ? "group" : "unicast", rtt, pkt.rssi_dbm, ls.rssi_dbm);
	}
}

/* Satellite: answer a poll with a pong, padded to what the poll asks for. */
static void on_poll(const struct lsec_event *ev)
{
	struct sat_link_state ls;
	struct bench_pkt pkt = {0};
	uint8_t reply[LSEC_MAX_PAYLOAD] = {0};
	size_t len = sizeof(pkt);
	int ret;

	if (ev->len == sizeof(pkt)) {
		memcpy(&pkt, ev->data, sizeof(pkt));
	}
	if (pkt.magic == BENCH_MAGIC && pkt.type == BENCH_POLL) {
		len = CLAMP(pkt.dst, sizeof(pkt), sizeof(reply));
	}

	sat_link_state(&ls);

	struct bench_pkt pong = {
		.magic = BENCH_MAGIC,
		.type = BENCH_PONG,
		.src = bench_node_id(),
		.seq = pkt.seq,
		.rssi_dbm = ls.rssi_dbm,
		.snr_db = ls.snr_db,
	};

	memcpy(reply, &pong, sizeof(pong));
	ret = sat_link_reply(reply, len);

	/* Seq 0 is the controller's heartbeat, twice a second. */
	if (pkt.seq != 0) {
		LOG_INF("poll %u: slot %u of %u, %u ms each, %d dBm%s", pkt.seq, ev->rank,
			ev->count, ev->slot_ms, ls.rssi_dbm, ret ? ", reply too long" : "");
	}
}

static void on_event(const struct lsec_event *ev)
{
	switch (ev->type) {
	case LSEC_EV_ADV: {
		atomic_val_t ap = atomic_get(&auto_pair);

		LOG_INF("satellite %016llx in pairing mode, %d dBm", ev->uid, ev->rssi_dbm);
		if (ap && atomic_cas(&auto_pair, ap, 0)) {
			secure_request(REQ_PAIR, ev->uid, ap >> 8, 0);
		}
		break;
	}
	case LSEC_EV_SAS:
		k_mutex_lock(&st_lock, K_FOREVER);
		memcpy(st.sas, ev->sas, sizeof(st.sas));
		st.sas_shown = true;
		st.note = "compare pattern";
		k_mutex_unlock(&st_lock);
		log_sas(ev->sas);
		break;
	case LSEC_EV_PAIRED:
		k_mutex_lock(&st_lock, K_FOREVER);
		st.sas_shown = false;
		st.note = "paired";
		k_mutex_unlock(&st_lock);
		LOG_INF("paired: satellite %016llx in slot %u", ev->uid, ev->slot);
		break;
	case LSEC_EV_PAIR_FAILED:
		k_mutex_lock(&st_lock, K_FOREVER);
		st.sas_shown = false;
		st.note = fail_name(ev->reason);
		k_mutex_unlock(&st_lock);
		LOG_WRN("pairing failed: %s", fail_name(ev->reason));
		break;
	case LSEC_EV_JOINED:
		note("joined");
		LOG_INF("session up, slot %u", ev->slot);
		break;
	case LSEC_EV_DATA:
		on_data(ev);
		break;
	case LSEC_EV_POLL:
		on_poll(ev);
		break;
	case LSEC_EV_LEFT:
		note("session dropped");
		LOG_WRN("session dropped: %s for %u ms",
			role == ROLE_CTRL ? "no reply" : "not polled",
			role == ROLE_CTRL ? LSEC_PEER_TIMEOUT_MS : LSEC_SESSION_TIMEOUT_MS);
		break;
	}

	atomic_set(&st_changed, 1);
}

/* ---- the loop --------------------------------------------------------- */

static void handle_request(const struct secure_req *req, int64_t now)
{
	int ret = 0;

	switch (req->type) {
	case REQ_CONFIRM:
	case REQ_REJECT:
		if (role == ROLE_CTRL) {
			ctrl_link_pair_confirm(req->type == REQ_CONFIRM);
		} else {
			sat_link_pair_confirm(req->type == REQ_CONFIRM);
		}
		if (req->type == REQ_CONFIRM && st.sas_shown) {
			note("confirmed, waiting");
		}
		break;

	case REQ_PAIR:
		if (role == ROLE_SAT) {
			LOG_INF("pairing mode for %d s", LSEC_PAIR_WINDOW_MS / 1000);
			ret = sat_link_pair_start();
			note("pairing mode");
		} else if (req->uid == 0) {
			LOG_INF("pairing with the first satellite in pairing mode");
			/* The slot goes with it, in the upper bits. */
			atomic_set(&auto_pair, 1 | (req->arg << 8));
			ctrl_link_scan(true);
			note("looking");
		} else {
			ret = ctrl_link_pair_start(req->uid, req->arg ? req->arg : BENCH_PAIR_SLOT);
			note("pairing");
		}
		break;

	case REQ_SCAN:
		if (role == ROLE_CTRL) {
			atomic_clear(&auto_pair);
			ctrl_link_scan(req->arg);
		}
		break;

	case REQ_UNPAIR:
		ret = role == ROLE_CTRL ? ctrl_link_forget(atomic_get(&sat_slot)) : sat_link_unpair();
		note("unpaired");
		break;

	case REQ_REPLAY:
		ret = role == ROLE_CTRL ? ctrl_link_replay_last() : sat_link_replay_last();
		LOG_INF("replayed the last sealed DATA frame: %d", ret);
		break;

	case REQ_PING:
		if (role == ROLE_CTRL) {
			/* A ping sent while the last PONG is still on air would collide with it. */
			uint32_t airtime = radio_airtime_ms(sizeof(struct bench_pkt) + LSEC_OVERHEAD);
			uint32_t min_interval = 2 * airtime;

			ping.count = req->arg;
			ping.interval_ms = MAX(req->arg2, min_interval);
			atomic_set(&ping.seq, 0);
			ping.next_at = now;

			k_mutex_lock(&st_lock, K_FOREVER);
			st.pinging = true;
			st.ping_total = ping.count;
			st.ping_sent = 0;
			st.pongs = 0;
			st.group_pongs = 0;
			k_mutex_unlock(&st_lock);

			LOG_INF("sealed pings: %u every %u ms, odd unicast, even group", ping.count,
				ping.interval_ms);
		}
		break;

	case REQ_STOP:
		ping.count = 0;
		poll.count = 0;
		break;

	case REQ_POLL: {
		uint8_t slot = atomic_get(&sat_slot);
		int air;

		if (role != ROLE_CTRL || slot == 0) {
			ret = -ENOTCONN;
			break;
		}

		poll.count = req->arg;
		poll.interval_ms = req->arg2;
		poll.reply_len = CLAMP((req->uid >> 8) & 0xFF, sizeof(struct bench_pkt),
				       LSEC_MAX_PAYLOAD);
		/* Phantoms: satellites that are not there, ahead of ours. */
		poll.mask = (req->uid & 0xFF) | BIT(slot - 1);
		poll.rank = __builtin_popcount(poll.mask & (BIT(slot - 1) - 1));
		air = radio_airtime_ms(poll.reply_len + LSEC_OVERHEAD);
		poll.slot_ms = link_slot_ms(air);
		atomic_set(&poll.seq, 0);
		poll.next_at = now;
		poll.answered = 0;
		poll.late = 0;
		poll.min_us = INT64_MAX;
		poll.max_us = 0;
		poll.sum_us = 0;

		k_mutex_lock(&st_lock, K_FOREVER);
		st.pinging = true;
		st.ping_total = poll.count;
		st.ping_sent = 0;
		st.pongs = 0;
		st.group_pongs = 0;
		k_mutex_unlock(&st_lock);

		LOG_INF("polls: %u every %u ms, mask 0x%02x: our satellite has slot %u of %u, "
			"%u ms each (%u-byte reply, %d ms on air)",
			poll.count, poll.interval_ms, poll.mask, poll.rank,
			__builtin_popcount(poll.mask), poll.slot_ms, poll.reply_len, air);
		break;
	}

	case REQ_JAM: {
		static const uint8_t jam[JAM_LEN];
		int64_t end = now + req->arg;
		int frames = 0;

		/* Straight to the radio, past the link and its listen-before-talk. */
		while (k_uptime_get() < end && radio_send(jam, sizeof(jam)) == 0) {
			frames++;
		}
		LOG_INF("jammed for %u ms: %d frames", req->arg, frames);
		break;
	}
	}

	if (ret) {
		LOG_WRN("request %d: %d", req->type, ret);
	}
	atomic_set(&st_changed, 1);
}

static void run_ping(int64_t now)
{
	uint32_t seq = atomic_get(&ping.seq);

	if (!st.pinging || now < ping.next_at) {
		return;
	}

	if (seq >= ping.count) {
		st.pinging = false;
		atomic_set(&st_changed, 1);
		LOG_INF("%u of %u answered (%u of them group)", st.pongs, seq, st.group_pongs);
		return;
	}

	seq++;

	struct bench_pkt pkt = {
		.magic = BENCH_MAGIC,
		.type = BENCH_PING,
		.src = bench_node_id(),
		.seq = seq,
	};
	uint8_t dst = seq % 2 == 0 ? LSEC_ADDR_GROUP : atomic_get(&sat_slot);
	int ret;

	ping.sent_at = now;
	ping.next_at = now + ping.interval_ms;
	atomic_set(&ping.seq, seq);
	st.ping_sent = seq;
	atomic_set(&st_changed, 1);

	ret = ctrl_link_send(dst, &pkt, sizeof(pkt));
	if (ret) {
		LOG_WRN("ping %u: not sent (%d), no session", seq, ret);
	}
}

static void send_poll(uint8_t mask, uint32_t seq, uint8_t reply_len)
{
	struct bench_pkt pkt = {
		.magic = BENCH_MAGIC,
		.type = BENCH_POLL,
		.src = bench_node_id(),
		.dst = reply_len,
		.seq = seq,
	};
	int ret = ctrl_link_poll(mask, &pkt, sizeof(pkt), reply_len);

	if (ret && seq != 0) {
		LOG_WRN("poll %u: not sent (%d)", seq, ret);
	}
}

static void run_poll(int64_t now)
{
	uint32_t seq = atomic_get(&poll.seq);

	if (now < poll.next_at) {
		return;
	}

	if (seq >= poll.count) {
		st.pinging = false;
		poll.count = 0;
		atomic_set(&st_changed, 1);
		if (poll.answered) {
			int64_t mean = poll.sum_us / poll.answered;

			LOG_INF("%u of %u answered, at +%lld.%01lld to +%lld.%01lld ms (mean "
				"%lld.%01lld), %u after their slot",
				poll.answered, seq, poll.min_us / 1000, (poll.min_us % 1000) / 100,
				poll.max_us / 1000, (poll.max_us % 1000) / 100, mean / 1000,
				(mean % 1000) / 100, poll.late);
		} else {
			LOG_INF("0 of %u answered", seq);
		}
		return;
	}

	seq++;
	atomic_set(&poll.seq, seq);
	poll.next_at = now + poll.interval_ms;
	st.ping_sent = seq;
	atomic_set(&st_changed, 1);

	send_poll(poll.mask, seq, poll.reply_len);
}

/* Keep the session up as the real controller does, unless a test runs. */
static void run_heartbeat(int64_t now)
{
	uint8_t slot = atomic_get(&sat_slot);

	if (st.pinging || slot == 0 || !ctrl_link_joined(slot) || now < next_heartbeat) {
		return;
	}

	next_heartbeat = now + HEARTBEAT_MS;
	send_poll(BIT(slot - 1), 0, sizeof(struct bench_pkt));
}

/* The controller's satellite is in whichever slot it was paired into. */
static uint8_t find_slot(void)
{
	for (uint8_t slot = LSEC_MAX_SATS; slot >= 1; slot--) {
		if (ctrl_link_paired_uid(slot)) {
			return slot;
		}
	}
	return 0;
}

/*
 * Copy the link's own state into the display status. The link lock is
 * taken before st_lock everywhere (event handlers run under it), so the
 * link is read first.
 */
static void refresh_link_state(void)
{
	struct secure_status now = {0};

	if (role == ROLE_CTRL) {
		struct ctrl_link_state ls;

		ctrl_link_state(&ls);
		now.slot = find_slot();
		atomic_set(&sat_slot, now.slot);
		now.uid = now.slot ? ctrl_link_paired_uid(now.slot) : 0;
		now.paired = now.uid != 0;
		now.joined = now.slot && ctrl_link_joined(now.slot);
		now.scanning = ls.scanning;
		now.pairing = ls.scanning || ls.pairing;
		now.stats = ls.stats;
	} else {
		struct sat_link_state ls;

		sat_link_state(&ls);
		now.slot = ls.slot;
		now.uid = ls.uid;
		now.paired = ls.paired;
		now.joined = ls.joined;
		now.pairing = ls.pairing;
		now.stats = ls.stats;
	}

	k_mutex_lock(&st_lock, K_FOREVER);
	st.uid = now.uid;
	st.paired = now.paired;
	st.joined = now.joined;
	st.scanning = now.scanning;
	st.pairing = now.pairing;
	st.stats = now.stats;
	st.slot = now.slot;
	k_mutex_unlock(&st_lock);
}

void secure_main(enum bench_role r)
{
	int64_t last_draw = 0;
	int ret;

	role = r;
	st.role = r;

	/* The radio, through the frame trace of "bench trace". */
	ret = role == ROLE_CTRL ? ctrl_link_init(on_event, &trace_transport)
				: sat_link_init(on_event, &trace_transport);
	if (ret) {
		LOG_ERR("link init: %d", ret);
		note("init failed");
	}

	refresh_link_state();
	if (ret == 0 && !st.paired) {
		LOG_INF("not paired; hold PRG on both boards to pair");
		note("not paired");
	}

	while (true) {
		struct secure_req req;
		int64_t now = k_uptime_get();

		while (k_msgq_get(&requests, &req, K_NO_WAIT) == 0) {
			handle_request(&req, now);
		}

		if (role == ROLE_CTRL) {
			if (poll.count) {
				run_poll(now);
			} else {
				run_ping(now);
			}
			run_heartbeat(now);
		}

		refresh_link_state();

		if (atomic_cas(&st_changed, 1, 0) || now - last_draw >= DISPLAY_REFRESH_MS) {
			k_mutex_lock(&st_lock, K_FOREVER);
			oled_show_secure(bench_node_id(), &st);
			k_mutex_unlock(&st_lock);
			last_draw = now;
		}

		k_sleep(LOOP_PERIOD);
	}
}
```

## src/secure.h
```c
/* SPDX-License-Identifier: GPL-3.0-only */

/*
 * Secure-link mode: the bench as a controller or a satellite on the lsec
 * layer in ../common/link, for pairing, joining and sealed pings over the
 * air between two boards.
 */

#ifndef SECURE_H_
#define SECURE_H_

#include <stdbool.h>
#include <stdint.h>

#include "lsec.h"

enum bench_role {
	ROLE_OFF,   /* plain ping/pong */
	ROLE_CTRL,
	ROLE_SAT,
};

/* What the display and "bench link" show. Written by the secure loop only. */
struct secure_status {
	enum bench_role role;
	uint64_t uid;          /* satellite: own; controller: the one paired */
	bool paired;
	bool joined;
	bool scanning;
	bool pairing;
	bool sas_shown;
	uint8_t sas[LSEC_SAS_FRAMES];
	const char *note;      /* the last notable event, for one line */
	struct lsec_stats stats;

	bool pinging;
	uint32_t ping_sent;
	uint32_t ping_total;
	uint32_t pongs;
	uint32_t group_pongs;
	uint32_t rtt_ms;

	uint8_t slot;          /* the satellite's slot, 0 if none */
};

/* Role saved in settings; read it after settings_subsys_init(). */
enum bench_role secure_role_load(void);
int secure_role_save(enum bench_role role);

/* Run the secure loop for @p role. Does not return. */
void secure_main(enum bench_role role);

/* Requests from the shell and the button, executed by the loop. */
enum secure_req_type {
	REQ_CONFIRM,
	REQ_REJECT,
	REQ_PAIR,        /* satellite: pairing mode. controller: pair with uid (0 = first seen) into slot arg */
	REQ_SCAN,        /* controller: arg = on/off */
	REQ_UNPAIR,
	REQ_REPLAY,
	REQ_PING,        /* controller: arg = count, arg2 = interval */
	REQ_STOP,
	REQ_POLL,        /* controller: arg = count, arg2 = interval, uid = phantoms | reply_len << 8 */
	REQ_JAM,         /* arg = ms of back-to-back raw frames, without listening first */
};

/* PRG button edges, from the input callback. */
void secure_button(bool pressed);

int secure_request(enum secure_req_type type, uint64_t uid, uint32_t arg, uint32_t arg2);
const struct secure_status *secure_status(void);

#endif /* SECURE_H_ */
```

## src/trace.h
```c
/* SPDX-License-Identifier: GPL-3.0-only */

/*
 * Frame trace for the secure link: a link_transport that passes every
 * frame through to link_radio_transport and logs it on the way, both
 * directions, decoded as far as the clear header goes. Sealed bodies stay
 * opaque. Frames that fail the PHY CRC never reach it.
 */

#ifndef TRACE_H_
#define TRACE_H_

#include "link_transport.h"

enum trace_mode {
	TRACE_OFF,
	TRACE_ON,    /* one line per frame */
	TRACE_HEX,   /* and a hex dump of it */
};

extern const struct link_transport trace_transport;

void trace_set_mode(enum trace_mode mode);
enum trace_mode trace_mode(void);

/*
 * Test hook: right after each poll, transmit a raw frame about 200 ms
 * long. It starts after the first slot's listen, so put the satellite
 * behind phantoms ("bench poll 20 400 0x07") to see it find the slot busy.
 */
void trace_set_jam_slot(bool on);

#endif /* TRACE_H_ */
```
